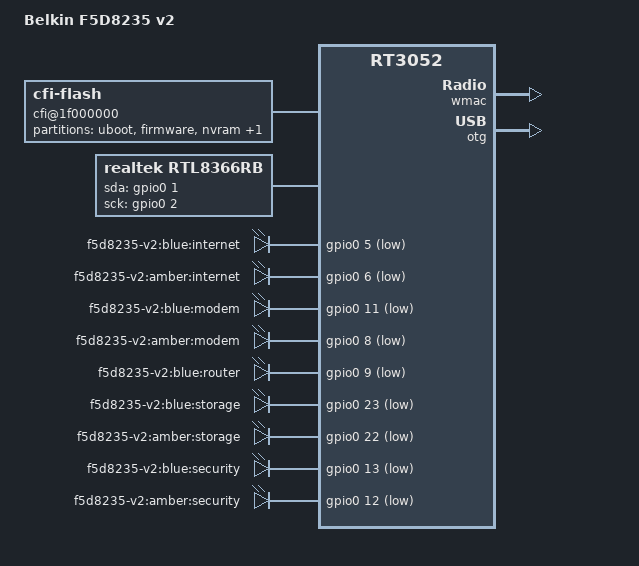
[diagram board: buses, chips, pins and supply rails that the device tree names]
/dts-v1/;

#include "rt3050.dtsi"

#include <dt-bindings/gpio/gpio.h>
#include <dt-bindings/input/input.h>

/ {
	compatible = "belkin,f5d8235-v2", "ralink,rt3052-soc";
	model = "Belkin F5D8235 v2";

	aliases {
		led-boot = &led_router;
		led-failsafe = &led_router;
		led-running = &led_router;
		led-upgrade = &led_router;
	};

	cfi@1f000000 {
		compatible = "cfi-flash";
		reg = <0x1f000000 0x800000>;
		bank-width = <2>;
		device-width = <2>;

		partitions {
			compatible = "fixed-partitions";
			#address-cells = <1>;
			#size-cells = <1>;

			uboot: partition@0 {
				label = "uboot";
				reg = <0x0 0x50000>;
				read-only;
			};

			partition@50000 {
				compatible = "denx,uimage";
				label = "firmware";
				reg = <0x50000 0x790000>;
			};

			partition@7e0000 {
				label = "nvram";
				reg = <0x7e0000 0x10000>;
			};

			factory: partition@7f0000 {
				label = "factory";
				reg = <0x7f0000 0x10000>;
			};
		};
	};

	rtl8366rb {
		compatible = "realtek,rtl8366rb";
		gpio-sda = <&gpio0 1 GPIO_ACTIVE_HIGH>;
		gpio-sck = <&gpio0 2 GPIO_ACTIVE_HIGH>;
	};

	leds {
		compatible = "gpio-leds";

		internet {
			label = "f5d8235-v2:blue:internet";
			gpios = <&gpio0 5 GPIO_ACTIVE_LOW>;
		};

		internet2 {
			label = "f5d8235-v2:amber:internet";
			gpios = <&gpio0 6 GPIO_ACTIVE_LOW>;
		};

		modem {
			label = "f5d8235-v2:blue:modem";
			gpios = <&gpio0 11 GPIO_ACTIVE_LOW>;
		};

		modem2 {
			label = "f5d8235-v2:amber:modem";
			gpios = <&gpio0 8 GPIO_ACTIVE_LOW>;
		};

		led_router: router {
			label = "f5d8235-v2:blue:router";
			gpios = <&gpio0 9 GPIO_ACTIVE_LOW>;
		};

		storage {
			label = "f5d8235-v2:blue:storage";
			gpios = <&gpio0 23 GPIO_ACTIVE_LOW>;
			trigger-sources = <&otg_port1>;
			linux,default-trigger = "usbport";
		};

		storage2 {
			label = "f5d8235-v2:amber:storage";
			gpios = <&gpio0 22 GPIO_ACTIVE_LOW>;
		};

		security {
			label = "f5d8235-v2:blue:security";
			gpios = <&gpio0 13 GPIO_ACTIVE_LOW>;
		};

		security2 {
			label = "f5d8235-v2:amber:security";
			gpios = <&gpio0 12 GPIO_ACTIVE_LOW>;
		};
	};
};

&pinctrl {
	state_default: pinctrl0 {
		gpio {
			ralink,group = "spi", "i2c", "jtag", "mdio", "uartf";
			ralink,function = "gpio";
		};
	};
};

&ethernet {
	mtd-mac-address = <&uboot 0x40004>;
	pinctrl-names = "default";
	pinctrl-0 = <&rgmii_pins>;
};

&esw {
	ralink,rgmii = <1>;
	mediatek,portmap = <0x3f>;
	ralink,fct2 = <0x0002500c>;
	/*
	 * ext phy base addr 31, rx/tx clock skew 0,
	 * turbo mii off, rgmi 3.3v off, port 5 polling off
	 * port5: enabled, gige, full-duplex, rx/tx-flow-control
	 * port6: enabled, gige, full-duplex, rx/tx-flow-control
	*/
	ralink,fpa2 = <0x1f003fff>;
};

&wmac {
	ralink,mtd-eeprom = <&uboot 0x40000>;
};

&otg {
	status = "okay";
};
